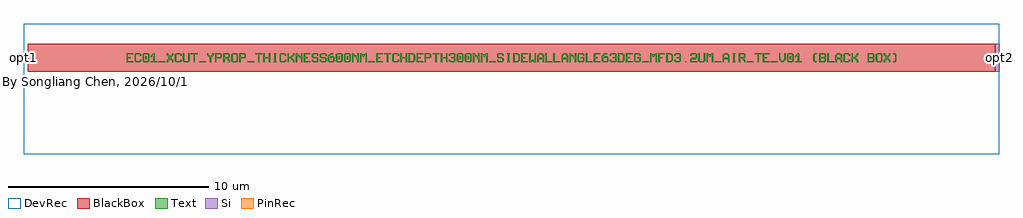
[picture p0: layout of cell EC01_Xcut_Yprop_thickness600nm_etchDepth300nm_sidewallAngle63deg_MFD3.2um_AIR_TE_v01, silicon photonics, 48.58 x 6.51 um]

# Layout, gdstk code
import gdstk
lib = gdstk.Library(unit=1e-6, precision=1e-10)
def R(c, l, rs):  # rectangles x0, y0, x1, y1
    for r in rs: c.add(gdstk.rectangle(r[:2], r[2:], *l))
def A(c, l, x, y, w, h, nx, ny, dx, dy):  # array of equal rectangles
    R(c, l, [(x+i*dx, y+j*dy, x+i*dx+w, y+j*dy+h) for i in range(nx) for j in range(ny)])
def P(c, l, *ps):  # polygons
    for p in ps: c.add(gdstk.Polygon(p, *l))
Si = (1, 0)
PinRec = (1, 10)
Text = (10, 0)
DevRec = (68, 0)
BlackBox = (998, 0)

text = lib.new_cell('TEXT')
A(text, Text, 6.015, 0, 0.334, 0.067, 3, 1, 6.015, 0)
R(text, Text, [(1.604,0,1.938,0.067), (3.609,0,3.943,0.067), (25.664,0,25.998,0.067), (27.803,0,27.87,0.067), (29.273,0,29.607,0.067), (30.877,0,31.211,0.067), (32.08,0,32.414,0.067), (0.936,0.167,1.003,0.301), (10.56,0.167,10.627,0.301), (10.961,0.167,11.028,0.301), (16.575,0.167,16.642,0.301), (16.976,0.167,17.043,0.301), (33.016,0.167,33.083,0.301)])
P(text, Text, [(0,0),(0,0.468),(0.334,0.468),(0.334,0.401),(0.067,0.401),(0.067,0.268),(0.201,0.268),(0.201,0.201),(0.067,0.201),(0.067,0.067),(0.334,0.067),(0.334,0)],
  [(0.468,0),(0.401,0.067),(0.401,0.401),(0.468,0.468),(0.669,0.468),(0.735,0.401),(0.735,0.334),(0.669,0.334),(0.669,0.368),(0.635,0.401),(0.501,0.401),(0.468,0.368),(0.468,0.1),(0.501,0.067),(0.635,0.067),(0.669,0.1),(0.669,0.134),(0.735,0.134),(0.735,0.067),(0.669,0)],
  [(0.869,0),(0.802,0.067),(0.802,0.401),(0.869,0.468),(1.07,0.468),(1.136,0.401),(0.902,0.401),(0.869,0.368),(0.869,0.1),(0.902,0.067),(1.036,0.067),(1.07,0.1),(1.07,0.368),(1.036,0.401),(1.136,0.401),(1.136,0.067),(1.07,0)],
  [(1.203,0),(1.203,0.067),(1.337,0.067),(1.337,0.334),(1.303,0.334),(1.236,0.268),(1.203,0.268),(1.203,0.334),(1.337,0.468),(1.404,0.468),(1.404,0.067),(1.537,0.067),(1.537,0)],
  [(2.005,0),(2.005,0.1),(2.105,0.201),(2.105,0.268),(2.005,0.368),(2.005,0.468),(2.072,0.468),(2.072,0.401),(2.172,0.301),(2.273,0.401),(2.273,0.468),(2.339,0.468),(2.339,0.368),(2.239,0.268),(2.239,0.201),(2.339,0.1),(2.339,0),(2.273,0),(2.273,0.067),(2.172,0.167),(2.072,0.067),(2.072,0)],
  [(2.473,0),(2.406,0.067),(2.406,0.401),(2.473,0.468),(2.674,0.468),(2.74,0.401),(2.74,0.334),(2.674,0.334),(2.674,0.368),(2.64,0.401),(2.506,0.401),(2.473,0.368),(2.473,0.1),(2.506,0.067),(2.64,0.067),(2.674,0.1),(2.674,0.134),(2.74,0.134),(2.74,0.067),(2.674,0)],
  [(2.874,0),(2.807,0.067),(2.807,0.468),(2.874,0.468),(2.874,0.1),(2.907,0.067),(3.041,0.067),(3.075,0.1),(3.075,0.468),(3.141,0.468),(3.141,0.067),(3.075,0)],
  [(3.342,0),(3.342,0.401),(3.208,0.401),(3.208,0.468),(3.542,0.468),(3.542,0.401),(3.409,0.401),(3.409,0)],
  [(4.144,0),(4.144,0.234),(4.01,0.368),(4.01,0.468),(4.077,0.468),(4.077,0.401),(4.177,0.301),(4.278,0.401),(4.278,0.468),(4.344,0.468),(4.344,0.368),(4.211,0.234),(4.211,0)],
  [(4.411,0),(4.411,0.468),(4.679,0.468),(4.745,0.401),(4.745,0.268),(4.679,0.201),(4.478,0.201),(4.478,0.268),(4.645,0.268),(4.679,0.301),(4.679,0.368),(4.645,0.401),(4.478,0.401),(4.478,0)],
  [(4.812,0),(4.812,0.468),(5.08,0.468),(5.146,0.401),(4.879,0.401),(4.879,0.268),(5.046,0.268),(5.08,0.301),(5.08,0.368),(5.046,0.401),(5.146,0.401),(5.146,0.268),(5.08,0.201),(5.08,0.167),(5.146,0.1),(5.146,0),(5.08,0),(5.08,0.067),(4.946,0.201),(4.879,0.201),(4.879,0)],
  [(5.28,0),(5.213,0.067),(5.213,0.401),(5.28,0.468),(5.481,0.468),(5.547,0.401),(5.547,0.234),(5.481,0.234),(5.481,0.368),(5.447,0.401),(5.313,0.401),(5.28,0.368),(5.28,0.1),(5.313,0.067),(5.447,0.067),(5.481,0.1),(5.481,0.234),(5.547,0.234),(5.547,0.067),(5.481,0)],
  [(5.614,0),(5.614,0.468),(5.882,0.468),(5.948,0.401),(5.948,0.268),(5.882,0.201),(5.681,0.201),(5.681,0.268),(5.848,0.268),(5.882,0.301),(5.882,0.368),(5.848,0.401),(5.681,0.401),(5.681,0)],
  [(6.55,0),(6.55,0.401),(6.416,0.401),(6.416,0.468),(6.75,0.468),(6.75,0.401),(6.617,0.401),(6.617,0)],
  [(6.817,0),(6.817,0.468),(6.884,0.468),(6.884,0.268),(7.085,0.268),(7.085,0.468),(7.151,0.468),(7.151,0),(7.085,0),(7.085,0.201),(6.884,0.201),(6.884,0)],
  [(7.318,0),(7.318,0.067),(7.352,0.067),(7.352,0.401),(7.318,0.401),(7.318,0.468),(7.452,0.468),(7.452,0.401),(7.419,0.401),(7.419,0.067),(7.452,0.067),(7.452,0)],
  [(7.686,0),(7.619,0.067),(7.619,0.401),(7.686,0.468),(7.887,0.468),(7.953,0.401),(7.953,0.334),(7.887,0.334),(7.887,0.368),(7.853,0.401),(7.719,0.401),(7.686,0.368),(7.686,0.1),(7.719,0.067),(7.853,0.067),(7.887,0.1),(7.887,0.134),(7.953,0.134),(7.953,0.067),(7.887,0)],
  [(8.02,0),(8.02,0.468),(8.087,0.468),(8.087,0.268),(8.154,0.268),(8.288,0.401),(8.288,0.468),(8.354,0.468),(8.354,0.368),(8.221,0.234),(8.354,0.1),(8.354,0),(8.288,0),(8.288,0.067),(8.154,0.201),(8.087,0.201),(8.087,0)],
  [(8.421,0),(8.421,0.468),(8.488,0.468),(8.655,0.301),(8.689,0.301),(8.689,0.468),(8.755,0.468),(8.755,0),(8.689,0),(8.689,0.167),(8.521,0.334),(8.488,0.334),(8.488,0)],
  [(8.822,0),(8.822,0.468),(9.156,0.468),(9.156,0.401),(8.889,0.401),(8.889,0.268),(9.023,0.268),(9.023,0.201),(8.889,0.201),(8.889,0.067),(9.156,0.067),(9.156,0)],
  [(9.29,0),(9.223,0.067),(9.223,0.134),(9.29,0.134),(9.29,0.1),(9.323,0.067),(9.457,0.067),(9.491,0.1),(9.491,0.167),(9.457,0.201),(9.29,0.201),(9.223,0.268),(9.223,0.401),(9.29,0.468),(9.491,0.468),(9.557,0.401),(9.557,0.334),(9.491,0.334),(9.491,0.368),(9.457,0.401),(9.323,0.401),(9.29,0.368),(9.29,0.301),(9.323,0.268),(9.491,0.268),(9.557,0.201),(9.557,0.067),(9.491,0)],
  [(9.691,0),(9.624,0.067),(9.624,0.134),(9.691,0.134),(9.691,0.1),(9.724,0.067),(9.858,0.067),(9.892,0.1),(9.892,0.167),(9.858,0.201),(9.691,0.201),(9.624,0.268),(9.624,0.401),(9.691,0.468),(9.892,0.468),(9.958,0.401),(9.958,0.334),(9.892,0.334),(9.892,0.368),(9.858,0.401),(9.724,0.401),(9.691,0.368),(9.691,0.301),(9.724,0.268),(9.892,0.268),(9.958,0.201),(9.958,0.067),(9.892,0)],
  [(10.092,0),(10.025,0.067),(10.025,0.334),(10.159,0.468),(10.293,0.468),(10.293,0.401),(10.192,0.401),(10.125,0.334),(10.125,0.301),(10.293,0.301),(10.359,0.234),(10.125,0.234),(10.092,0.201),(10.092,0.1),(10.125,0.067),(10.259,0.067),(10.293,0.1),(10.293,0.201),(10.259,0.234),(10.359,0.234),(10.359,0.067),(10.293,0)],
  [(10.493,0),(10.426,0.067),(10.426,0.401),(10.493,0.468),(10.694,0.468),(10.76,0.401),(10.526,0.401),(10.493,0.368),(10.493,0.1),(10.526,0.067),(10.66,0.067),(10.694,0.1),(10.694,0.368),(10.66,0.401),(10.76,0.401),(10.76,0.067),(10.694,0)],
  [(10.894,0),(10.827,0.067),(10.827,0.401),(10.894,0.468),(11.095,0.468),(11.161,0.401),(10.927,0.401),(10.894,0.368),(10.894,0.1),(10.927,0.067),(11.061,0.067),(11.095,0.1),(11.095,0.368),(11.061,0.401),(11.161,0.401),(11.161,0.067),(11.095,0)],
  [(11.228,0),(11.228,0.468),(11.295,0.468),(11.462,0.301),(11.496,0.301),(11.496,0.468),(11.562,0.468),(11.562,0),(11.496,0),(11.496,0.167),(11.328,0.334),(11.295,0.334),(11.295,0)],
  [(11.629,0),(11.629,0.468),(11.696,0.468),(11.763,0.401),(11.83,0.401),(11.897,0.468),(11.963,0.468),(11.963,0),(11.897,0),(11.897,0.334),(11.863,0.334),(11.796,0.268),(11.729,0.334),(11.696,0.334),(11.696,0)],
  [(12.431,0),(12.431,0.468),(12.765,0.468),(12.765,0.401),(12.498,0.401),(12.498,0.268),(12.632,0.268),(12.632,0.201),(12.498,0.201),(12.498,0.067),(12.765,0.067),(12.765,0)],
  [(12.966,0),(12.966,0.401),(12.832,0.401),(12.832,0.468),(13.166,0.468),(13.166,0.401),(13.033,0.401),(13.033,0)],
  [(13.3,0),(13.233,0.067),(13.233,0.401),(13.3,0.468),(13.501,0.468),(13.567,0.401),(13.567,0.334),(13.501,0.334),(13.501,0.368),(13.467,0.401),(13.333,0.401),(13.3,0.368),(13.3,0.1),(13.333,0.067),(13.467,0.067),(13.501,0.1),(13.501,0.134),(13.567,0.134),(13.567,0.067),(13.501,0)],
  [(13.634,0),(13.634,0.468),(13.701,0.468),(13.701,0.268),(13.902,0.268),(13.902,0.468),(13.968,0.468),(13.968,0),(13.902,0),(13.902,0.201),(13.701,0.201),(13.701,0)],
  [(14.035,0),(14.035,0.468),(14.269,0.468),(14.336,0.401),(14.102,0.401),(14.102,0.067),(14.236,0.067),(14.303,0.134),(14.303,0.334),(14.236,0.401),(14.336,0.401),(14.369,0.368),(14.369,0.1),(14.269,0)],
  [(14.436,0),(14.436,0.468),(14.77,0.468),(14.77,0.401),(14.503,0.401),(14.503,0.268),(14.637,0.268),(14.637,0.201),(14.503,0.201),(14.503,0.067),(14.77,0.067),(14.77,0)],
  [(14.837,0),(14.837,0.468),(15.105,0.468),(15.171,0.401),(15.171,0.268),(15.105,0.201),(14.904,0.201),(14.904,0.268),(15.071,0.268),(15.105,0.301),(15.105,0.368),(15.071,0.401),(14.904,0.401),(14.904,0)],
  [(15.372,0),(15.372,0.401),(15.238,0.401),(15.238,0.468),(15.572,0.468),(15.572,0.401),(15.439,0.401),(15.439,0)],
  [(15.639,0),(15.639,0.468),(15.706,0.468),(15.706,0.268),(15.907,0.268),(15.907,0.468),(15.973,0.468),(15.973,0),(15.907,0),(15.907,0.201),(15.706,0.201),(15.706,0)],
  [(16.107,0),(16.04,0.067),(16.04,0.134),(16.107,0.134),(16.107,0.1),(16.14,0.067),(16.274,0.067),(16.308,0.1),(16.308,0.167),(16.274,0.201),(16.174,0.201),(16.174,0.268),(16.274,0.268),(16.308,0.301),(16.308,0.368),(16.274,0.401),(16.14,0.401),(16.107,0.368),(16.107,0.334),(16.04,0.334),(16.04,0.401),(16.107,0.468),(16.308,0.468),(16.374,0.401),(16.374,0.268),(16.341,0.234),(16.374,0.201),(16.374,0.067),(16.308,0)],
  [(16.508,0),(16.441,0.067),(16.441,0.401),(16.508,0.468),(16.709,0.468),(16.775,0.401),(16.541,0.401),(16.508,0.368),(16.508,0.1),(16.541,0.067),(16.675,0.067),(16.709,0.1),(16.709,0.368),(16.675,0.401),(16.775,0.401),(16.775,0.067),(16.709,0)],
  [(16.909,0),(16.842,0.067),(16.842,0.401),(16.909,0.468),(17.11,0.468),(17.176,0.401),(16.942,0.401),(16.909,0.368),(16.909,0.1),(16.942,0.067),(17.076,0.067),(17.11,0.1),(17.11,0.368),(17.076,0.401),(17.176,0.401),(17.176,0.067),(17.11,0)],
  [(17.243,0),(17.243,0.468),(17.31,0.468),(17.477,0.301),(17.511,0.301),(17.511,0.468),(17.577,0.468),(17.577,0),(17.511,0),(17.511,0.167),(17.343,0.334),(17.31,0.334),(17.31,0)],
  [(17.644,0),(17.644,0.468),(17.711,0.468),(17.778,0.401),(17.845,0.401),(17.912,0.468),(17.978,0.468),(17.978,0),(17.912,0),(17.912,0.334),(17.878,0.334),(17.811,0.268),(17.744,0.334),(17.711,0.334),(17.711,0)],
  [(18.513,0),(18.446,0.067),(18.446,0.134),(18.513,0.134),(18.513,0.1),(18.546,0.067),(18.68,0.067),(18.714,0.1),(18.714,0.167),(18.68,0.201),(18.513,0.201),(18.446,0.268),(18.446,0.401),(18.513,0.468),(18.714,0.468),(18.78,0.401),(18.78,0.334),(18.714,0.334),(18.714,0.368),(18.68,0.401),(18.546,0.401),(18.513,0.368),(18.513,0.301),(18.546,0.268),(18.714,0.268),(18.78,0.201),(18.78,0.067),(18.714,0)],
  [(18.947,0),(18.947,0.067),(18.981,0.067),(18.981,0.401),(18.947,0.401),(18.947,0.468),(19.081,0.468),(19.081,0.401),(19.048,0.401),(19.048,0.067),(19.081,0.067),(19.081,0)],
  [(19.248,0),(19.248,0.468),(19.482,0.468),(19.549,0.401),(19.315,0.401),(19.315,0.067),(19.449,0.067),(19.516,0.134),(19.516,0.334),(19.449,0.401),(19.549,0.401),(19.582,0.368),(19.582,0.1),(19.482,0)],
  [(19.649,0),(19.649,0.468),(19.983,0.468),(19.983,0.401),(19.716,0.401),(19.716,0.268),(19.85,0.268),(19.85,0.201),(19.716,0.201),(19.716,0.067),(19.983,0.067),(19.983,0)],
  [(20.05,0),(20.05,0.468),(20.117,0.468),(20.117,0.1),(20.15,0.1),(20.217,0.167),(20.284,0.1),(20.318,0.1),(20.318,0.468),(20.384,0.468),(20.384,0),(20.284,0),(20.217,0.067),(20.15,0)],
  [(20.451,0),(20.451,0.368),(20.551,0.468),(20.685,0.468),(20.752,0.401),(20.585,0.401),(20.518,0.334),(20.518,0.234),(20.719,0.234),(20.719,0.334),(20.652,0.401),(20.752,0.401),(20.785,0.368),(20.785,0),(20.719,0),(20.719,0.167),(20.518,0.167),(20.518,0)],
  [(20.852,0),(20.852,0.468),(20.919,0.468),(20.919,0.067),(21.186,0.067),(21.186,0)],
  [(21.253,0),(21.253,0.468),(21.32,0.468),(21.32,0.067),(21.587,0.067),(21.587,0)],
  [(21.654,0),(21.654,0.368),(21.754,0.468),(21.888,0.468),(21.955,0.401),(21.788,0.401),(21.721,0.334),(21.721,0.234),(21.922,0.234),(21.922,0.334),(21.855,0.401),(21.955,0.401),(21.988,0.368),(21.988,0),(21.922,0),(21.922,0.167),(21.721,0.167),(21.721,0)],
  [(22.055,0),(22.055,0.468),(22.122,0.468),(22.289,0.301),(22.323,0.301),(22.323,0.468),(22.389,0.468),(22.389,0),(22.323,0),(22.323,0.167),(22.155,0.334),(22.122,0.334),(22.122,0)],
  [(22.523,0),(22.456,0.067),(22.456,0.401),(22.523,0.468),(22.724,0.468),(22.79,0.401),(22.79,0.334),(22.724,0.334),(22.724,0.368),(22.69,0.401),(22.556,0.401),(22.523,0.368),(22.523,0.1),(22.556,0.067),(22.69,0.067),(22.724,0.1),(22.724,0.201),(22.623,0.201),(22.623,0.268),(22.79,0.268),(22.79,0.067),(22.724,0)],
  [(22.857,0),(22.857,0.468),(22.924,0.468),(22.924,0.067),(23.191,0.067),(23.191,0)],
  [(23.258,0),(23.258,0.468),(23.592,0.468),(23.592,0.401),(23.325,0.401),(23.325,0.268),(23.459,0.268),(23.459,0.201),(23.325,0.201),(23.325,0.067),(23.592,0.067),(23.592,0)],
  [(23.726,0),(23.659,0.067),(23.659,0.334),(23.793,0.468),(23.927,0.468),(23.927,0.401),(23.826,0.401),(23.759,0.334),(23.759,0.301),(23.927,0.301),(23.993,0.234),(23.759,0.234),(23.726,0.201),(23.726,0.1),(23.759,0.067),(23.893,0.067),(23.927,0.1),(23.927,0.201),(23.893,0.234),(23.993,0.234),(23.993,0.067),(23.927,0)],
  [(24.127,0),(24.06,0.067),(24.06,0.134),(24.127,0.134),(24.127,0.1),(24.16,0.067),(24.294,0.067),(24.328,0.1),(24.328,0.167),(24.294,0.201),(24.194,0.201),(24.194,0.268),(24.294,0.268),(24.328,0.301),(24.328,0.368),(24.294,0.401),(24.16,0.401),(24.127,0.368),(24.127,0.334),(24.06,0.334),(24.06,0.401),(24.127,0.468),(24.328,0.468),(24.394,0.401),(24.394,0.268),(24.361,0.234),(24.394,0.201),(24.394,0.067),(24.328,0)],
  [(24.461,0),(24.461,0.468),(24.695,0.468),(24.762,0.401),(24.528,0.401),(24.528,0.067),(24.662,0.067),(24.729,0.134),(24.729,0.334),(24.662,0.401),(24.762,0.401),(24.795,0.368),(24.795,0.1),(24.695,0)],
  [(24.862,0),(24.862,0.468),(25.196,0.468),(25.196,0.401),(24.929,0.401),(24.929,0.268),(25.063,0.268),(25.063,0.201),(24.929,0.201),(24.929,0.067),(25.196,0.067),(25.196,0)],
  [(25.33,0),(25.263,0.067),(25.263,0.401),(25.33,0.468),(25.531,0.468),(25.597,0.401),(25.597,0.334),(25.531,0.334),(25.531,0.368),(25.497,0.401),(25.363,0.401),(25.33,0.368),(25.33,0.1),(25.363,0.067),(25.497,0.067),(25.531,0.1),(25.531,0.201),(25.43,0.201),(25.43,0.268),(25.597,0.268),(25.597,0.067),(25.531,0)],
  [(26.065,0),(26.065,0.468),(26.132,0.468),(26.199,0.401),(26.266,0.401),(26.333,0.468),(26.399,0.468),(26.399,0),(26.333,0),(26.333,0.334),(26.299,0.334),(26.232,0.268),(26.165,0.334),(26.132,0.334),(26.132,0)],
  [(26.466,0),(26.466,0.468),(26.8,0.468),(26.8,0.401),(26.533,0.401),(26.533,0.268),(26.667,0.268),(26.667,0.201),(26.533,0.201),(26.533,0)],
  [(26.867,0),(26.867,0.468),(27.101,0.468),(27.168,0.401),(26.934,0.401),(26.934,0.067),(27.068,0.067),(27.135,0.134),(27.135,0.334),(27.068,0.401),(27.168,0.401),(27.201,0.368),(27.201,0.1),(27.101,0)],
  [(27.335,0),(27.268,0.067),(27.268,0.134),(27.335,0.134),(27.335,0.1),(27.368,0.067),(27.502,0.067),(27.536,0.1),(27.536,0.167),(27.502,0.201),(27.402,0.201),(27.402,0.268),(27.502,0.268),(27.536,0.301),(27.536,0.368),(27.502,0.401),(27.368,0.401),(27.335,0.368),(27.335,0.334),(27.268,0.334),(27.268,0.401),(27.335,0.468),(27.536,0.468),(27.602,0.401),(27.602,0.268),(27.569,0.234),(27.602,0.201),(27.602,0.067),(27.536,0)],
  [(28.07,0),(28.07,0.167),(28.137,0.234),(28.304,0.234),(28.338,0.268),(28.338,0.368),(28.304,0.401),(28.17,0.401),(28.137,0.368),(28.137,0.334),(28.07,0.334),(28.07,0.401),(28.137,0.468),(28.338,0.468),(28.404,0.401),(28.404,0.234),(28.338,0.167),(28.17,0.167),(28.137,0.134),(28.137,0.067),(28.404,0.067),(28.404,0)],
  [(28.538,0),(28.471,0.067),(28.471,0.468),(28.538,0.468),(28.538,0.1),(28.571,0.067),(28.705,0.067),(28.739,0.1),(28.739,0.468),(28.805,0.468),(28.805,0.067),(28.739,0)],
  [(28.872,0),(28.872,0.468),(28.939,0.468),(29.006,0.401),(29.073,0.401),(29.14,0.468),(29.206,0.468),(29.206,0),(29.14,0),(29.14,0.334),(29.106,0.334),(29.039,0.268),(28.972,0.334),(28.939,0.334),(28.939,0)],
  [(29.674,0),(29.674,0.368),(29.774,0.468),(29.908,0.468),(29.975,0.401),(29.808,0.401),(29.741,0.334),(29.741,0.234),(29.942,0.234),(29.942,0.334),(29.875,0.401),(29.975,0.401),(30.008,0.368),(30.008,0),(29.942,0),(29.942,0.167),(29.741,0.167),(29.741,0)],
  [(30.175,0),(30.175,0.067),(30.209,0.067),(30.209,0.401),(30.175,0.401),(30.175,0.468),(30.309,0.468),(30.309,0.401),(30.276,0.401),(30.276,0.067),(30.309,0.067),(30.309,0)],
  [(30.476,0),(30.476,0.468),(30.744,0.468),(30.81,0.401),(30.543,0.401),(30.543,0.268),(30.71,0.268),(30.744,0.301),(30.744,0.368),(30.71,0.401),(30.81,0.401),(30.81,0.268),(30.744,0.201),(30.744,0.167),(30.81,0.1),(30.81,0),(30.744,0),(30.744,0.067),(30.61,0.201),(30.543,0.201),(30.543,0)],
  [(31.412,0),(31.412,0.401),(31.278,0.401),(31.278,0.468),(31.612,0.468),(31.612,0.401),(31.479,0.401),(31.479,0)],
  [(31.679,0),(31.679,0.468),(32.013,0.468),(32.013,0.401),(31.746,0.401),(31.746,0.268),(31.88,0.268),(31.88,0.201),(31.746,0.201),(31.746,0.067),(32.013,0.067),(32.013,0)],
  [(32.615,0),(32.481,0.134),(32.481,0.468),(32.548,0.468),(32.548,0.167),(32.648,0.067),(32.749,0.167),(32.749,0.468),(32.815,0.468),(32.815,0.134),(32.682,0)],
  [(32.949,0),(32.882,0.067),(32.882,0.401),(32.949,0.468),(33.15,0.468),(33.216,0.401),(32.982,0.401),(32.949,0.368),(32.949,0.1),(32.982,0.067),(33.116,0.067),(33.15,0.1),(33.15,0.368),(33.116,0.401),(33.216,0.401),(33.216,0.067),(33.15,0)],
  [(33.283,0),(33.283,0.067),(33.417,0.067),(33.417,0.334),(33.383,0.334),(33.316,0.268),(33.283,0.268),(33.283,0.334),(33.417,0.468),(33.484,0.468),(33.484,0.067),(33.617,0.067),(33.617,0)],
  [(34.252,0),(34.185,0.067),(34.185,0.401),(34.252,0.468),(34.353,0.468),(34.353,0.401),(34.286,0.401),(34.252,0.368),(34.252,0.1),(34.286,0.067),(34.353,0.067),(34.353,0)],
  [(34.486,0),(34.486,0.468),(34.754,0.468),(34.82,0.401),(34.553,0.401),(34.553,0.268),(34.72,0.268),(34.754,0.301),(34.754,0.368),(34.72,0.401),(34.82,0.401),(34.82,0.268),(34.787,0.234),(34.82,0.201),(34.553,0.201),(34.553,0.067),(34.72,0.067),(34.754,0.1),(34.754,0.167),(34.72,0.201),(34.82,0.201),(34.82,0.067),(34.754,0)],
  [(34.887,0),(34.887,0.468),(34.954,0.468),(34.954,0.067),(35.221,0.067),(35.221,0)],
  [(35.288,0),(35.288,0.368),(35.388,0.468),(35.522,0.468),(35.589,0.401),(35.422,0.401),(35.355,0.334),(35.355,0.234),(35.556,0.234),(35.556,0.334),(35.489,0.401),(35.589,0.401),(35.622,0.368),(35.622,0),(35.556,0),(35.556,0.167),(35.355,0.167),(35.355,0)],
  [(35.756,0),(35.689,0.067),(35.689,0.401),(35.756,0.468),(35.957,0.468),(36.023,0.401),(36.023,0.334),(35.957,0.334),(35.957,0.368),(35.923,0.401),(35.789,0.401),(35.756,0.368),(35.756,0.1),(35.789,0.067),(35.923,0.067),(35.957,0.1),(35.957,0.134),(36.023,0.134),(36.023,0.067),(35.957,0)],
  [(36.09,0),(36.09,0.468),(36.157,0.468),(36.157,0.268),(36.224,0.268),(36.358,0.401),(36.358,0.468),(36.424,0.468),(36.424,0.368),(36.291,0.234),(36.424,0.1),(36.424,0),(36.358,0),(36.358,0.067),(36.224,0.201),(36.157,0.201),(36.157,0)],
  [(36.892,0),(36.892,0.468),(37.16,0.468),(37.226,0.401),(36.959,0.401),(36.959,0.268),(37.126,0.268),(37.16,0.301),(37.16,0.368),(37.126,0.401),(37.226,0.401),(37.226,0.268),(37.193,0.234),(37.226,0.201),(36.959,0.201),(36.959,0.067),(37.126,0.067),(37.16,0.1),(37.16,0.167),(37.126,0.201),(37.226,0.201),(37.226,0.067),(37.16,0)],
  [(37.36,0),(37.293,0.067),(37.293,0.401),(37.36,0.468),(37.561,0.468),(37.627,0.401),(37.627,0.234),(37.561,0.234),(37.561,0.368),(37.527,0.401),(37.393,0.401),(37.36,0.368),(37.36,0.1),(37.393,0.067),(37.527,0.067),(37.561,0.1),(37.561,0.234),(37.627,0.234),(37.627,0.067),(37.561,0)],
  [(37.694,0),(37.694,0.1),(37.794,0.201),(37.794,0.268),(37.694,0.368),(37.694,0.468),(37.761,0.468),(37.761,0.401),(37.861,0.301),(37.962,0.401),(37.962,0.468),(38.028,0.468),(38.028,0.368),(37.928,0.268),(37.928,0.201),(38.028,0.1),(38.028,0),(37.962,0),(37.962,0.067),(37.861,0.167),(37.761,0.067),(37.761,0)],
  [(38.162,0),(38.162,0.067),(38.229,0.067),(38.262,0.1),(38.262,0.368),(38.229,0.401),(38.162,0.401),(38.162,0.468),(38.262,0.468),(38.329,0.401),(38.329,0.067),(38.262,0)])

ec01_xcut_yprop_thicknes = lib.new_cell('EC01_Xcut_Yprop_thickness600nm_etchDepth300nm_sidewallAngle63deg_MFD3.2um_AIR_TE_v01')
R(ec01_xcut_yprop_thicknes, Si, [(24.0824,-0.7,24.2824,0.7), (-24.2824,-0.25,-24.0824,0.25)])
R(ec01_xcut_yprop_thicknes, DevRec, [(-24.2824,-4.8075,24.2824,1.7)])
R(ec01_xcut_yprop_thicknes, BlackBox, [(-24.0824,-0.7,24.0824,0.7)])
ec01_xcut_yprop_thicknes.add(gdstk.FlexPath([(-24.2724,0),(-24.2924,0)], 0.5, ends="flush", simple_path=True, layer=1, datatype=10))  # PinRec
ec01_xcut_yprop_thicknes.add(gdstk.FlexPath([(24.2724,0),(24.2924,0)], 1.4, ends="flush", simple_path=True, layer=1, datatype=10))  # PinRec
ec01_xcut_yprop_thicknes.add(gdstk.Reference(text, (-19.1645,-0.234)))
ec01_xcut_yprop_thicknes.add(gdstk.Label('opt1', (-24.2824,0), layer=1, texttype=10))
ec01_xcut_yprop_thicknes.add(gdstk.Label('opt2', (24.2824,0), layer=1, texttype=10))
ec01_xcut_yprop_thicknes.add(gdstk.Label('By Songliang Chen, 2026/10/13', (-23.7824,-1.2), layer=10, texttype=0))

lib.write_gds('EC01_Xcut_Yprop_thickness600nm_etchDepth300nm_sidewallAngle63deg_MFD3.2um_AIR_TE_v01.gds')
